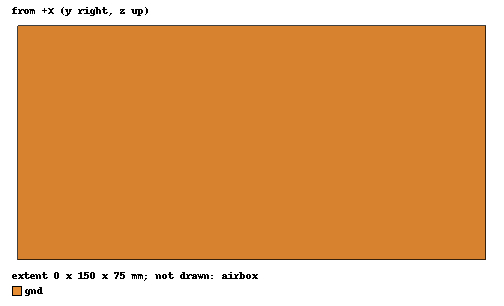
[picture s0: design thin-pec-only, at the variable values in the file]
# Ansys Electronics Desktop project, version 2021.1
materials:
  vacuum: permittivity=1

design thin-pec-only (HFSS, DrivenModal, model units mm)
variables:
  a = 75mm
  b = 150mm
  h = 3mm
  w = 2.5mm
  ePhi = 1
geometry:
  gnd = rectangle(corner=(0, -b/2, -a/2), y_size=b, z_size=a)
  airbox [vacuum] = sphere(centre=(0mm, 0mm, 0mm), radius=3*b)
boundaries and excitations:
  Rad1: Radiation Objects=airbox
  PerfE1: Perfect E Objects=gnd
  IncPWave1: Plane Incident Wave PhiStart=45deg PhiStop=45deg PhiPoints=1 ThetaStart=54.736deg ThetaStop=54.736deg ThetaPoints=1 EoPhi=0 EoTheta=1 OriginX=0mm OriginY=0mm OriginZ=0mm IsPropagating
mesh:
  Length1: LengthBased Objects=gnd MaxLength=10mm
  Length3: LengthBased RefineInside Objects=airbox MaxLength=70mm
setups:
  Setup1: HfssDriven Frequency=1.1388GHz MaxDeltaE=0.01 MaximumPasses=10 MinimumPasses=1 MinimumConvergedPasses=1 PercentRefinement=30 BasisOrder=1 SaveRadFieldsOnly
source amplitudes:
  IncPWave1:1: 1 0deg
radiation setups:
  Infinite Sphere1: Infinite Sphere Theta=125.264deg..125.264deg step 0deg Phi=-135deg..-135deg step 0deg
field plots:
  Mesh1: MeshPlots over gnd.face on Setup1 : LastAdaptive at Freq=1.1388GHz Phase=0deg
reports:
  rE Table 1: re(rEPhi), im(rEPhi), re(rETheta), im(rETheta) vs Theta on Setup1 : LastAdaptive, Infinite Sphere1 [Phi=all Freq=0.9965GHz IWavePhi=270deg IWaveTheta=90deg]
